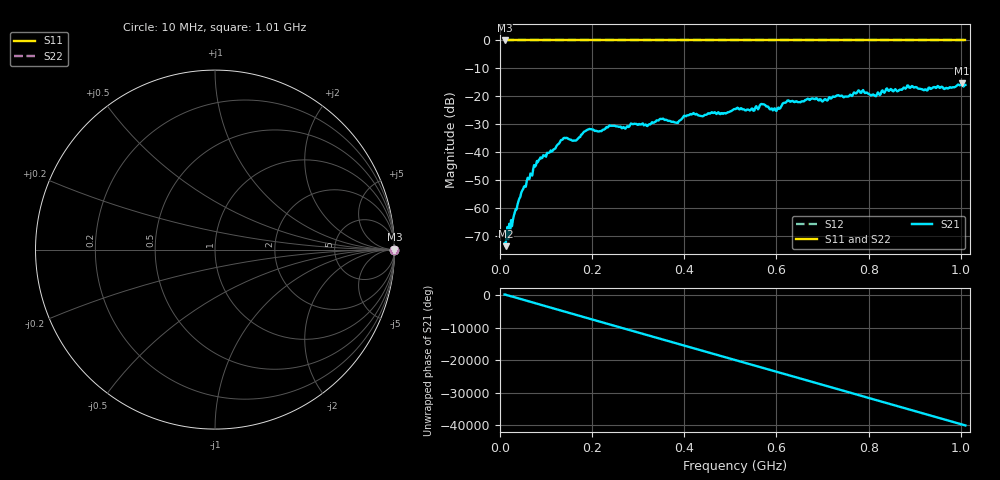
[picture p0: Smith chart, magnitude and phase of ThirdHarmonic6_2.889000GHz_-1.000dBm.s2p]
! 8/17/2025 7:57:00 AM
! C:\ANRITSUVNA\TEMP\TEMP.S2P
! CHANNEL.1
! TR.MEASUREMENT
! RAW.DATA
! RF.CORRECTION.OFF
! AVERAGING.OFF
! IF.BANDWIDTH: 5KHZ
! SWEEPTYPE:  FREQ.SWEEP(Linear)
! Reference Plane Port Info
! PORT:  PORT1  PORT2
! DISTANCE:  0  m  0  m
! TIME:  0  s  0  s
! PHASE.OFFSET:  0  deg.  0  deg.
! LOSS:  0  dB  0  dB
! REF.LOSS:  0  dB  0  dB
! REF.FREQ:  0  Hz  0  Hz
! Power Info
! POWER:  -20  dBm  -20  dBm
! EFF.POWER:  -20  dBm  -20  dBm
! SOURCE.ATTEN:  0  dB  0  dB
! TEST.ATTEN:  0  dB  0  dB
# GHZ S RI R 50.0
! FREQ.GHZ  S11RE  S11IM  S21RE  S21IM  S12RE  S12IM  S22RE  S22IM
!; PortSelection: Port_12
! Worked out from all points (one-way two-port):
!   501 points, 10 MHz to 1.01 GHz, reference 50 ohm
!   highest |S21| = -15.36 dB at 1.002 GHz (marker M1); lowest = -73.8 dB at 12 MHz (marker M2)
!   lowest |S11| = 0.0 dB at 10 MHz (marker M3)
!   |S11| at or under -10 dB: nowhere
!   |S22| runs from 0.0 to 0.0 dB; largest |S21 - S12| = 1.2
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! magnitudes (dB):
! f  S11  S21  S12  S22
! 10 MHz  0.0  -72.8  0.0  0.0
! 12 MHz  0.0  -73.8  0.0  0.0
! 50 MHz  0.0  -53.4  0.0  0.0
! 84 MHz  0.0  -42.9  0.0  0.0
! 136 MHz  0.0  -35.6  0.0  0.0
! 162 MHz  0.0  -35.9  0.0  0.0
! 178 MHz  0.0  -33.7  0.0  0.0
! 194 MHz  0.0  -31.7  0.0  0.0
! 344 MHz  0.0  -28.7  0.0  0.0
! 382 MHz  0.0  -29.5  0.0  0.0
! 416 MHz  0.0  -26.6  0.0  0.0
! 510 MHz  0.0  -24.6  0.0  0.0
! 548 MHz  0.0  -24.5  0.0  0.0
! 570 MHz  0.0  -22.9  0.0  0.0
! 596 MHz  0.0  -24.3  0.0  0.0
! 624 MHz  0.0  -21.5  0.0  0.0
! 678 MHz  0.0  -20.8  0.0  0.0
! 784 MHz  0.0  -18.8  0.0  0.0
! 814 MHz  0.0  -19.9  0.0  0.0
! 844 MHz  0.0  -18.1  0.0  0.0
! 1.002 GHz  0.0  -15.4  0.0  0.0
! 1.01 GHz  0.0  -16.0  0.0  0.0
